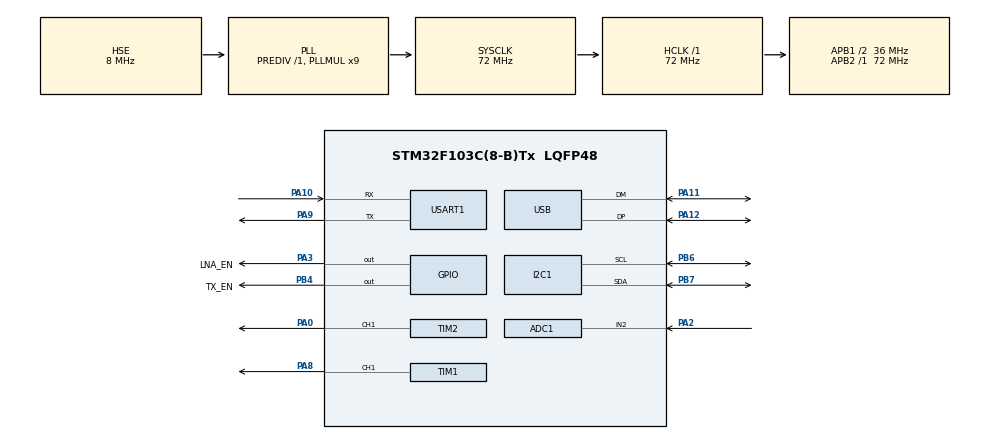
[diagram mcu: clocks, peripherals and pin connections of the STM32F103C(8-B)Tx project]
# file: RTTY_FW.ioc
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ADC1.Channel-0\#ChannelRegularConversion=ADC_CHANNEL_2
ADC1.ContinuousConvMode=DISABLE
ADC1.ExternalTrigConv=ADC_EXTERNALTRIGCONV_T3_TRGO
ADC1.NbrOfConversionFlag=1
ADC1.Rank-0\#ChannelRegularConversion=1
ADC1.SamplingTime-0\#ChannelRegularConversion=ADC_SAMPLETIME_1CYCLE_5
ADC1.master=1
Dma.ADC1.0.Direction=DMA_PERIPH_TO_MEMORY
Dma.ADC1.0.Instance=DMA1_Channel1
Dma.ADC1.0.MemDataAlignment=DMA_MDATAALIGN_WORD
Dma.ADC1.0.MemInc=DMA_MINC_ENABLE
Dma.ADC1.0.Mode=DMA_CIRCULAR
Dma.ADC1.0.PeriphDataAlignment=DMA_PDATAALIGN_WORD
Dma.ADC1.0.PeriphInc=DMA_PINC_DISABLE
Dma.ADC1.0.Priority=DMA_PRIORITY_LOW
Dma.Request0=ADC1
Mcu.Family=STM32F1
Mcu.Name=STM32F103C(8-B)Tx
Mcu.Package=LQFP48
NVIC.ADC1_2_IRQn=true\:0\:0\:false\:false\:true\:true\:true\:true
NVIC.DMA1_Channel1_IRQn=true\:0\:0\:false\:false\:true\:false\:true\:true
NVIC.PriorityGroup=NVIC_PRIORITYGROUP_4
NVIC.TIM3_IRQn=true\:0\:0\:false\:false\:true\:true\:true\:true
NVIC.USB_LP_CAN1_RX0_IRQn=true\:0\:0\:false\:false\:true\:false\:true\:true
PA0-WKUP.Signal=S_TIM2_CH1_ETR
PA10.Mode=Asynchronous
PA10.Signal=USART1_RX
PA11.Mode=Device
PA11.Signal=USB_DM
PA12.Mode=Device
PA12.Signal=USB_DP
PA13.Mode=Serial_Wire
PA13.Signal=SYS_JTMS-SWDIO
PA14.Mode=Serial_Wire
PA14.Signal=SYS_JTCK-SWCLK
PA2.Signal=ADCx_IN2
PA3.GPIO_Label=LNA_EN
PA3.GPIO_Speed=GPIO_SPEED_FREQ_MEDIUM
PA3.Signal=GPIO_Output
PA8.Signal=S_TIM1_CH1
PA9.Mode=Asynchronous
PA9.Signal=USART1_TX
PB4.GPIO_Label=TX_EN
PB4.GPIO_Speed=GPIO_SPEED_FREQ_MEDIUM
PB4.Signal=GPIO_Output
PB6.Mode=I2C
PB6.Signal=I2C1_SCL
PB7.Mode=I2C
PB7.Signal=I2C1_SDA
PD0-OSC_IN.Mode=HSE-External-Oscillator
PD0-OSC_IN.Signal=RCC_OSC_IN
PD1-OSC_OUT.Mode=HSE-External-Oscillator
PD1-OSC_OUT.Signal=RCC_OSC_OUT
ProjectManager.HeapSize=0x200
ProjectManager.StackSize=0x400
ProjectManager.TargetToolchain=Makefile
RCC.ADCPresc=RCC_ADCPCLK2_DIV6
RCC.AHBFreq_Value=72000000
RCC.APB1CLKDivider=RCC_HCLK_DIV2
RCC.APB1Freq_Value=36000000
RCC.APB1TimFreq_Value=72000000
RCC.APB2Freq_Value=72000000
RCC.APB2TimFreq_Value=72000000
RCC.HCLKFreq_Value=72000000
RCC.PLLMUL=RCC_PLL_MUL9
RCC.PLLSourceVirtual=RCC_PLLSOURCE_HSE
RCC.SYSCLKFreq_VALUE=72000000
RCC.SYSCLKSource=RCC_SYSCLKSOURCE_PLLCLK
RCC.USBFreq_Value=48000000
RCC.USBPrescaler=RCC_USBCLKSOURCE_PLL_DIV1_5
SH.ADCx_IN2.0=ADC1_IN2,IN2
SH.S_TIM1_CH1.0=TIM1_CH1,PWM Generation1 CH1
SH.S_TIM2_CH1_ETR.0=TIM2_CH1,PWM Generation1 CH1
TIM1.Channel-PWM\ Generation1\ CH1=TIM_CHANNEL_1
TIM1.Period=18
TIM1.Pulse-PWM\ Generation1\ CH1=9
TIM2.Channel-PWM\ Generation1\ CH1=TIM_CHANNEL_1
TIM2.Period=49827
TIM2.Pulse-PWM\ Generation1\ CH1=24913
TIM3.Period=1500
USART1.VirtualMode=VM_ASYNC
USB_DEVICE.CLASS_NAME_FS=CDC
USB_DEVICE.VirtualMode=Cdc
USB_DEVICE.VirtualModeFS=Cdc_FS
VP_TIM1_VS_ClockSourceINT.Mode=Internal
VP_TIM2_VS_ClockSourceINT.Mode=Internal
VP_TIM3_VS_ClockSourceINT.Mode=Internal
VP_USB_DEVICE_VS_USB_DEVICE_CDC_FS.Mode=CDC_FS
board=custom

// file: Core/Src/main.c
/* USER CODE BEGIN Header */
/**
  ******************************************************************************
  * @file           : main.c
  * @brief          : Main program body
  ******************************************************************************
  * @attention
  *
  * Copyright (c) 2022 STMicroelectronics.
  * All rights reserved.
  *
  * This software is licensed under terms that can be found in the LICENSE file
  * in the root directory of this software component.
  * If no LICENSE file comes with this software, it is provided AS-IS.
  *
  ******************************************************************************
  */
/* USER CODE END Header */
#include "main.h"
#include "adc.h"
#include "dma.h"
#include "i2c.h"
#include "tim.h"
#include "usart.h"
#include "usb_device.h"
#include "gpio.h"

/* USER CODE BEGIN Includes */

#include <stdbool.h>
#include <string.h>
#include "usbd_cdc_if.h"
#include "arm_math_types_f16.h"
#include "arm_math_f16.h"
#include "arm_const_structs_f16.h"
#include <math.h>
#include "mcp4725.h"
#include <stdlib.h>
#include "eeConfig.h"
#include "ee.h"
#include "baudot.h"
#include "string.h"
/* USER CODE END Includes */

/* USER CODE BEGIN PTD */
enum commands_enum {
  CMD_NONE,
  CMD_READ_FIELDS,
  CMD_SET_FIELDS,
  CMD_TEST_COMMS
};

enum modes_enum {
  MODE_IDLE = 0,
  MODE_RX = 1,
  MODE_TX = 2,
  MODE_CALIBRATE_VCO = 3
};

enum fields_enum {
  FIELD_MODE,
  FIELD_FREQ_MHZ,
  FIELD_MARK_FREQ,
  FIELD_SPACE_FREQ,
  FIELD_BAUD_RATE,
  FIELD_TX_DATA,
  FIELD_RX_DATA_RDY,
  FIELD_RX_DATA,
  FIELD_RX_TONE,
  FIELD_VCO_DAC_VOLTAGE,
  FIELD_VCO_FREQ_CAL_VALUE,
  FIELD_PA_DAC_VOLTAGE,
  NUM_FIELDS
};

enum states_enum {
  STATE_GOTO_IDLE,
  STATE_IDLE,
  STATE_GOTO_RX,
  STATE_RX,
  STATE_GOTO_TX,
  STATE_TX,
  STATE_GOTO_CAL_VCO,
  STATE_CAL_VCO
};

enum rx_states_enum {
  RX_STATE_IDLE,
  RX_STATE_START,
  RX_STATE_READ_DATA,
  RX_STATE_STOP
};

enum tx_states_enum {
  TX_STATE_IDLE,
  TX_STATE_START,
  TX_STATE_SEND_DATA,
  TX_STATE_STOP
};

typedef struct state_struct {
  uint8_t state;
  uint64_t rx_begin_time;
  uint64_t tx_begin_time;
  uint8_t rx_symbol_state;
  uint8_t tx_symbol_state;
  uint8_t baudot_state;
} state_t;

typedef struct cal_point_struct {
  float32_t voltage;
  float32_t freq;
} cal_point_t;

/* USER CODE END PTD */

/* USER CODE BEGIN PD */
#define FIELD_SIZE      sizeof(uint32_t)
#define CMD_IND         0
#define BODY_LEN_IND    1
#define BODY_START_IND  2
#define TEST_COMMS_RPY  0xA5
#define FIELD_MEM_SIZE  FIELD_SIZE*NUM_FIELDS
#define SAMPLING_FREQ   48000.0
#define ADC_BUFFER_SIZE 512
#define FFT_SIZE        (ADC_BUFFER_SIZE/2)
#define WINDOW_FUNC_STDDEV  (ADC_BUFFER_SIZE/7.0)
#define WINDOW_FUNC_MEAN (ADC_BUFFER_SIZE/2.0)
#define SQRT_2_PI       2.506628
#define WINDOW_FUNC_COEF ((ADC_BUFFER_SIZE/2.718282)/(WINDOW_FUNC_STDDEV * SQRT_2_PI))
#define FFT_FREQ_RES    (SAMPLING_FREQ/ADC_BUFFER_SIZE)
#define DFLT_BAUD_RATE  45.45
#define FIRST_TX_IF_LO  4.0e6
#define TX_OFFSET_FREQ  28000
#define DFLT_MARK_FREQ  2125
#define DFLT_SPACE_FREQ (DFLT_MARK_FREQ + 170)
#define DFLT_FREQ_MHZ   28.08
#define DFLT_PA_DAC_VOLTAGE 0.5
#define VCO_DAC_ADDR    0xC0
#define PA_DAC_ADDR     0xC1
#define VCO_CAL_POINTS  512
#define CLOCK_FREQ      72.0e6
#define GET_TX_VCO_FREQ(carrier)  (carrier - (FIRST_TX_IF_LO + TX_OFFSET_FREQ))
#define DEBUG_BUF_SIZE  64

/* USER CODE END PD */

/* USER CODE BEGIN PV */
uint8_t fields[FIELD_MEM_SIZE];
uint8_t fields_checksum = 0;
extern uint8_t* UserRxBufferFS;
extern uint8_t* UserTxBufferFS;
state_t state;
volatile uint64_t microseconds = 0;
volatile uint32_t adc_reading;
volatile float16_t adc_samples_1[ADC_BUFFER_SIZE];
volatile float16_t adc_samples_2[ADC_BUFFER_SIZE];
volatile float16_t fft_output[ADC_BUFFER_SIZE];
volatile float16_t fft_mag_output[FFT_SIZE];
volatile float16_t* adc_samples = adc_samples_1;
volatile int sample_buf_selected = 0;
volatile int sample_ind = 0;
volatile bool sample_buf_rdy = false;
// arm_rfft_fast_instance_f32 var_inst_rfft_f32;
arm_rfft_fast_instance_f16 var_inst_rfft_f16;
volatile int rx_bit = -1;
volatile uint32_t rx_byte;
volatile int rx_bit_count;
volatile uint8_t tx_byte;
volatile uint8_t tx_bit_count;
mcp4725_t vco_dac;
mcp4725_t pa_dac;
cal_point_t vco_cal_pts[VCO_CAL_POINTS];
int vco_calpt_count = 0;
uint8_t debug_buf[DEBUG_BUF_SIZE];

/* USER CODE END PV */

void SystemClock_Config(void);
/* USER CODE BEGIN PFP */
void init_fields(uint8_t* mem);
bool is_fields_updated(uint8_t* mem, uint8_t chksum);
bool parse_packet(uint8_t* packet_in, uint8_t* packet_out);
uint32_t get_field_u32(uint8_t* mem, uint8_t field_id);
void set_field_u32(uint8_t* mem, uint8_t field_id, uint32_t field_value);
float32_t get_field_f32(uint8_t* mem, uint8_t field_id);
void set_field_f32(uint8_t* mem, uint8_t field_id, float32_t field_value);
void set_field_f16(uint8_t* mem, uint8_t field_id, float16_t field_value);
void enable_rx();
void disable_rx();
void enable_tx();
void disable_tx();
uint64_t micros();
float32_t window_func(int index);
float32_t get_freq_from_index(int ind);
bool within_range(float32_t x, float32_t target, float32_t range);
void receive_symbol_state_machine(uint8_t* rx_symbol_state);
float32_t get_vco_dac_voltage(cal_point_t* points, float32_t freq);
void add_vco_cal_point(cal_point_t* points, float32_t voltage, float32_t freq);
int vco_cal_cmpfunc(const void* a, const void* b);
void save_vco_cal(cal_point_t* points);
void set_vco_freq_MHz(float32_t freq);
void transmit_symbol_state_machine(uint8_t* tx_state);
void set_audio_freq(float32_t freq);
void debug(char* str);
/* USER CODE END PFP */

int main(void)
{

  /* MCU Configuration--------------------------------------------------------*/

  /* Reset of all peripherals, Initializes the Flash interface and the Systick. */
  HAL_Init();

  /* Configure the system clock */
  SystemClock_Config();

  /* Initialize all configured peripherals */
  MX_GPIO_Init();
  MX_DMA_Init();
  MX_I2C1_Init();
  MX_TIM1_Init();
  MX_TIM2_Init();
  MX_USART1_UART_Init();
  MX_USB_DEVICE_Init();
  MX_TIM3_Init();
  MX_ADC1_Init();
  /* USER CODE BEGIN 2 */
  HAL_ADCEx_Calibration_Start(&hadc1);

  init_fields(fields);

  // DACS
  vco_dac.addr = VCO_DAC_ADDR;
  vco_dac.hi2c = &hi2c1;
  vco_dac.vref = 3.3;

  pa_dac.addr = PA_DAC_ADDR;
  pa_dac.hi2c = &hi2c1;
  pa_dac.vref = 3.3;

  general_call_reset(&vco_dac);
  general_call_wakeup(&vco_dac);

  // SETUP STATE OBJECT
  state.state = STATE_GOTO_IDLE;

  /* USER CODE END 2 */

  /* Infinite loop */
  while (1)
  {

    /* USER CODE BEGIN 3 */

    /* USB COMMS */
    if(parse_packet(UserRxBufferFS, UserTxBufferFS)){
      CDC_Transmit_FS(UserTxBufferFS, UserTxBufferFS[BODY_LEN_IND] + BODY_START_IND);
    }

    /* BEGIN MAIN STATE MACHINE */
    switch(state.state){
      case STATE_GOTO_IDLE:{
        debug("Going to state IDLE...\r\n");
        disable_rx();
        disable_tx();
        state.state = STATE_IDLE;
        break;
      }
      case STATE_IDLE:{
        uint32_t mode = get_field_u32(fields, FIELD_MODE);
        if (mode = MODE_RX){
          state.state = STATE_GOTO_RX;
        } else if(mode == MODE_TX){
          state.state = STATE_GOTO_TX;
        } else if(mode == MODE_CALIBRATE_VCO){
          state.state = STATE_GOTO_CAL_VCO;
        }
        break;
      }
      case STATE_GOTO_RX:{
        debug("Going to state RX...\r\n");
        disable_tx();
        enable_rx();
        state.rx_begin_time = micros();
        state.state = STATE_RX;
        break;
      }
      case STATE_RX:{
        uint64_t baud_interval_us = (uint64_t)(1.0e6/get_field_f32(fields, FIELD_BAUD_RATE));
        if(sample_buf_rdy && micros() - state.rx_begin_time >= baud_interval_us){
          sample_buf_rdy = false;
          float32_t* samples;
          if(sample_buf_selected == 1){
            // switch adc_samples to point to adc_samples_2
            adc_samples = adc_samples_2;
            sample_buf_selected = 2;

            // now choose to process adc_samples_1
            samples = adc_samples_1;
          }else if(sample_buf_selected == 2){
            // switch adc_samples to point to adc_samples_1
            adc_samples = adc_samples_1;
            sample_buf_selected = 1;

            // now choose to process adc_samples_2
            samples = adc_samples_2;
          }

          state.rx_begin_time = micros();
          HAL_TIM_Base_Start(&htim3); //  restart ADC sampling

          /* BEGIN FFT ANALYSIS */
          arm_status status = arm_rfft_fast_init_f16(&var_inst_rfft_f16, ADC_BUFFER_SIZE); // must pass in the length of the real buffer size
          arm_rfft_fast_f16(&var_inst_rfft_f16, samples, fft_output, 0);
          arm_cmplx_mag_f16(fft_output, fft_mag_output, FFT_SIZE);
          float16_t max_value = 0;
          uint32_t test_ind = 0;
          arm_max_f16(fft_mag_output, FFT_SIZE, &max_value, &test_ind);
          float32_t freq = get_freq_from_index(test_ind);
          set_field_f32(fields, FIELD_RX_TONE, freq);
          /* END FFT ANALYSIS */

          if(within_range(freq, get_field_f32(fields, FIELD_MARK_FREQ), 1.25*FFT_FREQ_RES)){
            rx_bit = 1;
          }else if(within_range(freq, get_field_f32(fields, FIELD_SPACE_FREQ), 1.25*FFT_FREQ_RES)){
            rx_bit = 0;
          }else{
            rx_bit = -1;
          }

          if(rx_bit != -1){
            receive_symbol_state_machine(&state.rx_symbol_state);
            if(state.rx_symbol_state == RX_STATE_STOP){
              // copy the data
              set_field_u32(fields, FIELD_RX_DATA, rx_byte);
              set_field_u32(fields, FIELD_RX_DATA_RDY, 1);
            }
          }
        }

        if(get_field_u32(fields, FIELD_MODE) != MODE_RX){
          state.state = STATE_GOTO_IDLE;
        }

        break;
      }
      case STATE_GOTO_TX:{
        debug("Going to state TX...\r\n");
        disable_rx();
        enable_tx();
        state.state = STATE_TX;
        state.tx_begin_time = micros();
        set_vout(&pa_dac, get_field_f32(fields, FIELD_PA_DAC_VOLTAGE));
        break;
      }
      case STATE_TX:{
        if(get_field_u32(fields, FIELD_MODE) != MODE_TX){
          state.state = STATE_GOTO_IDLE;
        }else{
          uint64_t bit_int_us = (uint64_t)(1.0e6/get_field_f32(fields, FIELD_BAUD_RATE));
          // transmit whatever is in FIELD_TX_DATA at the specified baud
          if(micros() - state.tx_begin_time >= bit_int_us){
            state.tx_begin_time = micros();
            transmit_symbol_state_machine(&state.tx_symbol_state);
          }
        }
        break;
      }case STATE_GOTO_CAL_VCO:{
        debug("Going to state CALIBRATE VCO...\r\n");
        set_vout(&vco_dac, get_field_f32(fields, FIELD_VCO_DAC_VOLTAGE));
        state.state = STATE_CAL_VCO;
        break;
      }case STATE_CAL_VCO:{
        float32_t freq = get_field_f32(fields, FIELD_VCO_FREQ_CAL_VALUE);
        if(freq != 0.0){
          // if user has set the frequency, add this cal point
          float32_t volts = get_field_f32(fields, FIELD_VCO_DAC_VOLTAGE);
          add_vco_cal_point(vco_cal_pts, volts, freq);
          set_field_f32(fields, FIELD_VCO_FREQ_CAL_VALUE, 0.0);
          save_vco_cal(vco_cal_pts);
          set_field_u32(fields, FIELD_MODE, MODE_IDLE);
          state.state = STATE_IDLE;
        }
        break;
      }
    }
    /* END MAIN STATE MACHINE */
  }
  /* USER CODE END 3 */
}

void SystemClock_Config(void)
{
  RCC_OscInitTypeDef RCC_OscInitStruct = {0};
  RCC_ClkInitTypeDef RCC_ClkInitStruct = {0};
  RCC_PeriphCLKInitTypeDef PeriphClkInit = {0};

  /** Initializes the RCC Oscillators according to the specified parameters
  * in the RCC_OscInitTypeDef structure.
  */
  RCC_OscInitStruct.OscillatorType = RCC_OSCILLATORTYPE_HSE;
  RCC_OscInitStruct.HSEState = RCC_HSE_ON;
  RCC_OscInitStruct.HSEPredivValue = RCC_HSE_PREDIV_DIV1;
  RCC_OscInitStruct.HSIState = RCC_HSI_ON;
  RCC_OscInitStruct.PLL.PLLState = RCC_PLL_ON;
  RCC_OscInitStruct.PLL.PLLSource = RCC_PLLSOURCE_HSE;
  RCC_OscInitStruct.PLL.PLLMUL = RCC_PLL_MUL9;
  if (HAL_RCC_OscConfig(&RCC_OscInitStruct) != HAL_OK)
  {
    Error_Handler();
  }

  /** Initializes the CPU, AHB and APB buses clocks
  */
  RCC_ClkInitStruct.ClockType = RCC_CLOCKTYPE_HCLK|RCC_CLOCKTYPE_SYSCLK
                              |RCC_CLOCKTYPE_PCLK1|RCC_CLOCKTYPE_PCLK2;
  RCC_ClkInitStruct.SYSCLKSource = RCC_SYSCLKSOURCE_PLLCLK;
  RCC_ClkInitStruct.AHBCLKDivider = RCC_SYSCLK_DIV1;
  RCC_ClkInitStruct.APB1CLKDivider = RCC_HCLK_DIV2;
  RCC_ClkInitStruct.APB2CLKDivider = RCC_HCLK_DIV1;

  if (HAL_RCC_ClockConfig(&RCC_ClkInitStruct, FLASH_LATENCY_2) != HAL_OK)
  {
    Error_Handler();
  }
  PeriphClkInit.PeriphClockSelection = RCC_PERIPHCLK_ADC|RCC_PERIPHCLK_USB;
  PeriphClkInit.AdcClockSelection = RCC_ADCPCLK2_DIV6;
  PeriphClkInit.UsbClockSelection = RCC_USBCLKSOURCE_PLL_DIV1_5;
  if (HAL_RCCEx_PeriphCLKConfig(&PeriphClkInit) != HAL_OK)
  {
    Error_Handler();
  }
}

/* USER CODE BEGIN 4 */

void init_fields(uint8_t* mem){
  set_field_u32(mem, FIELD_MODE, (uint32_t)MODE_IDLE);
  set_field_f32(mem, FIELD_FREQ_MHZ, DFLT_FREQ_MHZ);
  set_field_f32(mem, FIELD_BAUD_RATE, DFLT_BAUD_RATE);
  set_field_f32(mem, FIELD_MARK_FREQ, DFLT_MARK_FREQ);
  set_field_f32(mem, FIELD_SPACE_FREQ, DFLT_SPACE_FREQ);
  set_field_f32(mem, FIELD_PA_DAC_VOLTAGE, DFLT_PA_DAC_VOLTAGE);

  uint8_t total = 0;
  for(int i = 0; i < NUM_FIELDS; i++){
    total += mem[i];
  }
  fields_checksum = (~total) + 1;

}

bool is_fields_updated(uint8_t* mem, uint8_t chksum){
  uint8_t total = 0;
  for(int i = 0; i < NUM_FIELDS; i++){
    total += mem[i];
  }
  total += chksum;
  return total != 0;
}

/**
 * Packet format:
 *  [CMD] [BODY_LEN (N)] [BODY_0] ... [BODY_(N-1)]
*/
bool parse_packet(uint8_t* packet_in, uint8_t* packet_out){
  uint8_t cmd = packet_in[CMD_IND];
  uint8_t len = packet_in[BODY_LEN_IND];
  bool retval = false;

  if (cmd == CMD_TEST_COMMS){
    packet_out[CMD_IND] = CMD_TEST_COMMS;
    packet_out[BODY_LEN_IND] = 1;
    packet_out[BODY_START_IND] = TEST_COMMS_RPY;
    retval = true;
  }else if (cmd == CMD_READ_FIELDS){
    int ii = BODY_START_IND;
    for(int i = BODY_START_IND; i < len + BODY_START_IND; i++){
      packet_out[ii] = packet_in[i];
      ii++;
      memcpy(packet_out + ii, fields + (i*FIELD_SIZE), FIELD_SIZE);
      ii += FIELD_SIZE;
    }
    retval = true;
  }else if (cmd == CMD_SET_FIELDS){
    int i = BODY_START_IND;
    while(i < len + BODY_START_IND){
      int field_ind = packet_in[i];
      i++;
      memcpy(fields + field_ind*FIELD_SIZE, packet_in + i, FIELD_SIZE);
      i += FIELD_SIZE;
    }
    retval = true;
  }

  packet_in[CMD_IND] = CMD_NONE;
  return retval;
}

uint32_t get_field_u32(uint8_t* mem, uint8_t field_id){
  uint32_t retval = 0;
  memcpy((uint8_t*)&retval, mem + field_id*FIELD_SIZE, FIELD_SIZE);
  return retval;
}

void set_field_u32(uint8_t* mem, uint8_t field_id, uint32_t field_value){
  memcpy(mem + field_id*FIELD_SIZE, (uint8_t*)&field_value, FIELD_SIZE);
}

float32_t get_field_f32(uint8_t* mem, uint8_t field_id){
  float32_t retval = 0;
  memcpy((uint8_t*)&retval, mem + field_id*FIELD_SIZE, FIELD_SIZE);
  return retval;
}

void set_field_f32(uint8_t* mem, uint8_t field_id, float32_t field_value){
  memcpy(mem + field_id*FIELD_SIZE, (uint8_t*)&field_value, FIELD_SIZE);
}

void set_field_f16(uint8_t* mem, uint8_t field_id, float16_t field_value){
  float32_t temp = (float32_t)field_value;
  memcpy(mem + field_id*FIELD_SIZE, (uint8_t*)&temp, FIELD_SIZE);
}

/**
 * Enable receiver and related features
*/
void enable_rx(){
  HAL_GPIO_WritePin(LNA_EN_GPIO_Port, LNA_EN_Pin, 0);
  sample_buf_selected = 1;
  adc_samples = adc_samples_1;
  sample_ind = 0;
  HAL_ADC_Start_DMA(&hadc1, &adc_reading, 1);
  HAL_TIM_Base_Start(&htim3); // for 48kHz timebase and triggering ADC samples
  // TODO:
  //  set DAC voltage to program VCO for downconversion
  set_vco_freq_MHz(get_field_f32(fields, FIELD_FREQ_MHZ));
}

/**
 * Disable receiver and related features
*/
void disable_rx(){
  HAL_GPIO_WritePin(LNA_EN_GPIO_Port, LNA_EN_Pin, 0);
  HAL_TIM_Base_Stop(&htim3);
  HAL_ADC_Stop_DMA(&hadc1);
}

void enable_tx(){
  HAL_TIM_Base_Start(&htim1);
  HAL_TIM_Base_Start(&htim2);
  HAL_GPIO_WritePin(TX_EN_GPIO_Port, TX_EN_Pin, 1);
  float32_t freq = get_field_f32(fields, FIELD_FREQ_MHZ) * 1.0e6;
  freq = GET_TX_VCO_FREQ(freq);
  set_vco_freq_MHz(freq/1.0e6);
}

void disable_tx(){
  HAL_GPIO_WritePin(TX_EN_GPIO_Port, TX_EN_Pin, 0);
  HAL_TIM_Base_Stop(&htim1);
  HAL_TIM_Base_Stop(&htim2);
}

void HAL_TIM_PeriodElapsedCallback(TIM_HandleTypeDef *htim){
  if (htim->Instance == TIM3){
    microseconds += 10;
  }
}

void HAL_ADC_ConvCpltCallback(ADC_HandleTypeDef* hadc){
  float32_t sample =  window_func(sample_ind) * (3.3*adc_reading)/4095.0;
  adc_samples[sample_ind] = sample;
  sample_ind++;
  if(sample_ind >= ADC_BUFFER_SIZE){
    sample_buf_rdy = true;

    // prevent the ADC from being triggered
    // we'll re-enable in sync with our baud rate timing
    HAL_TIM_Base_Stop(&htim3);
  }
}
uint64_t micros(){
  return microseconds;
}

float32_t window_func(int index){
  return WINDOW_FUNC_COEF * expf(-0.5*powf((1.0*index - WINDOW_FUNC_MEAN)/WINDOW_FUNC_STDDEV, 2.0));
}

float32_t get_freq_from_index(int ind){
  return ind * (SAMPLING_FREQ/ADC_BUFFER_SIZE);
}

bool within_range(float32_t x, float32_t target, float32_t range){
  if(x < target){
    return x > target - range;
  }else if(x > target){
    return x < target + range;
  }else{
    return true;
  }
}

void receive_symbol_state_machine(uint8_t* rx_symbol_state){
  switch(*rx_symbol_state){
    case RX_STATE_IDLE:{
      // waiting for a start bit
      if(rx_bit == 0){
        // the received bit was a start bit
        // next bit will be data
        *rx_symbol_state = RX_STATE_READ_DATA;
        rx_bit_count = 0;
      }
      break;
    }case RX_STATE_READ_DATA:{
      // data comes in LSB first
      rx_byte |= (rx_bit << rx_bit_count);
      rx_bit_count++;
      if (rx_bit_count == 5){
        rx_bit_count = 0; // reset so we can use this for stop bit counting
        *rx_symbol_state = RX_STATE_STOP;
      }
      break;
    }case RX_STATE_STOP:{
      rx_bit_count++;
      if (rx_bit_count >= 1){
        *rx_symbol_state = RX_STATE_IDLE;
      }
      break;
    }
  }
}

float32_t get_vco_dac_voltage(cal_point_t* points, float32_t freq){

  cal_point_t* pt_a;
  cal_point_t* pt_b;
  int i = vco_calpt_count/2;
  int step_size = vco_calpt_count/4;
  bool found = false;

  while(!found){
    pt_a = points + i;
    pt_b = points + i + 1;

    if (freq < pt_a->freq){
      // look lower
      i -= step_size;
      step_size = (int)(step_size / 2.0 + 0.5);
    }else if(freq > pt_b->freq){
      // look higher
      i += step_size;
      step_size = (int)(step_size / 2.0 + 0.5);
    }else{
      found = true;
    }

    if (i + 1 >= vco_calpt_count){
      i -= 1;
      found = true;
    }else if(i < 0){
      i += 1;
      found = true;
    }
  }

  float32_t slope = (pt_b->freq - pt_a->freq)/(pt_b->voltage - pt_a->voltage);
  return ((freq - pt_a->freq)/slope) + pt_a->voltage;
}

void add_vco_cal_point(cal_point_t* points, float32_t voltage, float32_t freq){
  if(vco_calpt_count >= VCO_CAL_POINTS){
    return;
  }
  points[vco_calpt_count].voltage = voltage;
  points[vco_calpt_count].freq    = freq;
  vco_calpt_count++;
  qsort(points, vco_calpt_count, sizeof(cal_point_t), vco_cal_cmpfunc);
}

int vco_cal_cmpfunc(const void* a, const void* b){
  float32_t freq_a = ((cal_point_t *)a)->freq;
  float32_t freq_b = ((cal_point_t *)b)->freq;
  if (freq_a > freq_b){
    return 1;
  }else if (freq_b > freq_a){
    return -1;
  }else{
    return 0;
  }
}

void save_vco_cal(cal_point_t* points){

}

void set_vco_freq_MHz(float32_t freq_MHz){
  float32_t freq = 1.0e6 * freq_MHz;
  set_vout(&vco_dac, get_vco_dac_voltage(vco_cal_pts, freq));
}

void transmit_symbol_state_machine(uint8_t* tx_state){
  switch(*tx_state){
    case TX_STATE_IDLE:{
      set_audio_freq(get_field_f32(fields, FIELD_MARK_FREQ) + TX_OFFSET_FREQ);
      *tx_state = TX_STATE_START;
      break;
    }case TX_STATE_START:{
      set_audio_freq(get_field_f32(fields, FIELD_SPACE_FREQ) + TX_OFFSET_FREQ);
      tx_bit_count = 0;
      tx_byte = (uint8_t)(get_field_u32(fields, FIELD_TX_DATA) & 0xFF);
      *tx_state = TX_STATE_SEND_DATA;
      break;
    }case TX_STATE_SEND_DATA:{
      // TODO
      break;
    }
  }
}

/**
 * @brief sets the TIM2 channel 1 PWM output to the specified frequency
*/
void set_audio_freq(float32_t freq){
  float32_t counts = CLOCK_FREQ/freq;

  HAL_TIM_PWM_Stop(&htim2, TIM_CHANNEL_1);
  HAL_TIM_Base_Stop(&htim2);
  if(counts <= 65535.0){
    /* Ensure the clock division is 1 */
    htim2.Instance->CR1 &= ~TIM_CR1_CKD;
    htim2.Instance->CR1 |= (uint32_t)TIM_CLOCKDIVISION_DIV1;
    htim2.Instance->ARR = (uint32_t)counts;
    htim2.Instance->CCR1 = counts / 2; // duty cycle of 0.5
  }else{
    counts = counts / 2;
    /* Set the clock division to be 2 */
    htim2.Instance->CR1 &= ~TIM_CR1_CKD;
    htim2.Instance->CR1 |= (uint32_t)TIM_CLOCKDIVISION_DIV2;
    htim2.Instance->ARR = (uint32_t)counts;
    htim2.Instance->CCR1 = counts / 2; // duty cycle of 0.5
  }
  HAL_TIM_Base_Start(&htim2);
  HAL_TIM_PWM_Start(&htim2, TIM_CHANNEL_1);
}

void debug(char* str){
  HAL_UART_Transmit(&huart1, str, strlen(str), 10);
}

/* USER CODE END 4 */

void Error_Handler(void)
{
  __disable_irq();
  while (1)
  {
  }
}
